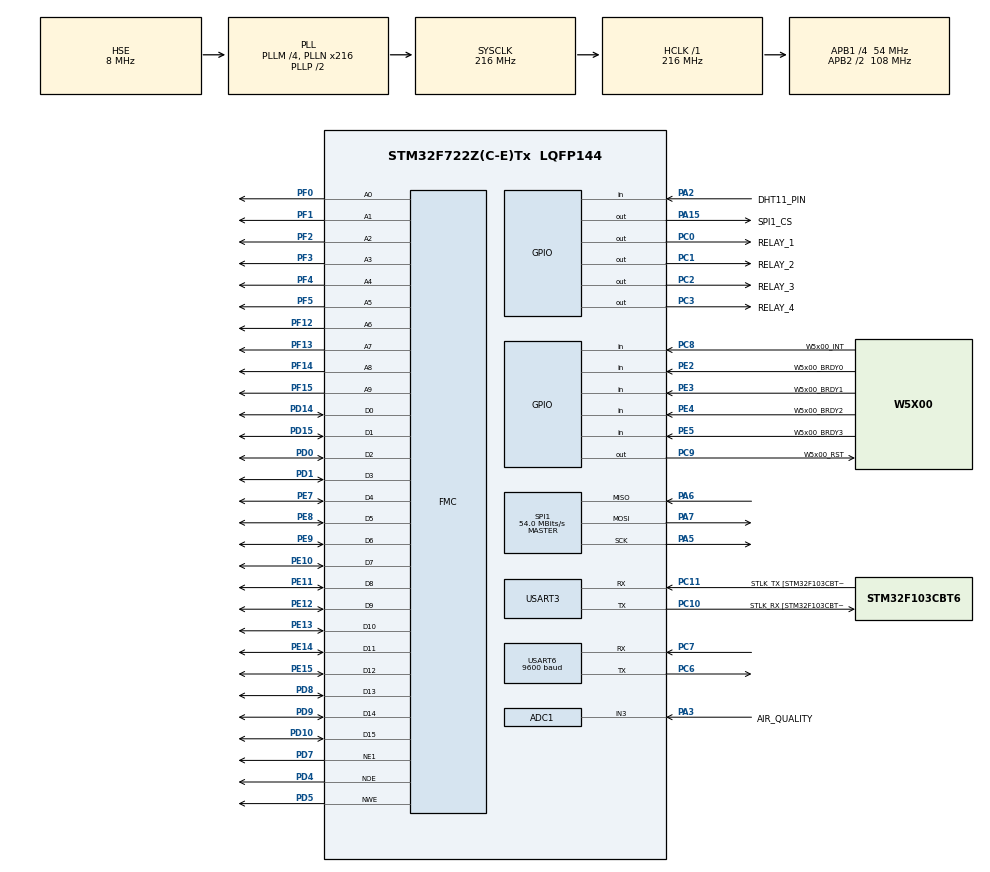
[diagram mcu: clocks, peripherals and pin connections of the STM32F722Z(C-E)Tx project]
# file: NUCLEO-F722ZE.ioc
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ADC1.Channel-2\#ChannelRegularConversion=ADC_CHANNEL_3
ADC1.DMAContinuousRequests=ENABLE
ADC1.NbrOfConversionFlag=1
ADC1.Rank-2\#ChannelRegularConversion=1
ADC1.SamplingTime-2\#ChannelRegularConversion=ADC_SAMPLETIME_3CYCLES
ADC1.master=1
Dma.ADC1.0.Direction=DMA_PERIPH_TO_MEMORY
Dma.ADC1.0.FIFOMode=DMA_FIFOMODE_DISABLE
Dma.ADC1.0.Instance=DMA2_Stream0
Dma.ADC1.0.MemDataAlignment=DMA_MDATAALIGN_HALFWORD
Dma.ADC1.0.MemInc=DMA_MINC_ENABLE
Dma.ADC1.0.Mode=DMA_CIRCULAR
Dma.ADC1.0.PeriphDataAlignment=DMA_PDATAALIGN_HALFWORD
Dma.ADC1.0.PeriphInc=DMA_PINC_DISABLE
Dma.ADC1.0.Priority=DMA_PRIORITY_LOW
Dma.Request0=ADC1
FATFS._MAX_SS=4096
FATFS._USE_LFN=1
FMC.WriteOperation1=FMC_WRITE_OPERATION_ENABLE
Mcu.Family=STM32F7
Mcu.Name=STM32F722Z(C-E)Tx
Mcu.Package=LQFP144
NVIC.DMA2_Stream0_IRQn=true\:0\:0\:false\:false\:true\:false\:true\:true
NVIC.PriorityGroup=NVIC_PRIORITYGROUP_4
PA13.GPIO_Label=TMS
PA13.Mode=Serial_Wire
PA13.Signal=SYS_JTMS-SWDIO
PA14.GPIO_Label=TCK
PA14.Mode=Serial_Wire
PA14.Signal=SYS_JTCK-SWCLK
PA15.GPIO_Label=SPI1_CS
PA15.GPIO_Speed=GPIO_SPEED_FREQ_MEDIUM
PA15.Signal=GPIO_Output
PA2.GPIO_Label=DHT11_PIN
PA2.Signal=GPIO_Input
PA3.GPIO_Label=AIR_QUALITY
PA3.Signal=ADCx_IN3
PA5.Mode=Full_Duplex_Master
PA5.Signal=SPI1_SCK
PA6.Mode=Full_Duplex_Master
PA6.Signal=SPI1_MISO
PA7.Mode=Full_Duplex_Master
PA7.Signal=SPI1_MOSI
PC0.GPIO_Label=RELAY_1
PC0.Signal=GPIO_Output
PC1.GPIO_Label=RELAY_2
PC1.Signal=GPIO_Output
PC10.GPIO_Label=STLK_RX [STM32F103CBT6_PA3]
PC10.Mode=Asynchronous
PC10.Signal=USART3_TX
PC11.GPIO_Label=STLK_TX [STM32F103CBT6_PA2]
PC11.Mode=Asynchronous
PC11.Signal=USART3_RX
PC14-OSC32_IN.Mode=LSE-External-Oscillator
PC14-OSC32_IN.Signal=RCC_OSC32_IN
PC15-OSC32_OUT.Mode=LSE-External-Oscillator
PC15-OSC32_OUT.Signal=RCC_OSC32_OUT
PC2.GPIO_Label=RELAY_3
PC2.Signal=GPIO_Output
PC3.GPIO_Label=RELAY_4
PC3.Signal=GPIO_Output
PC6.Mode=Asynchronous
PC6.Signal=USART6_TX
PC7.Mode=Asynchronous
PC7.Signal=USART6_RX
PC8.GPIO_Label=W5x00_INT
PC8.Signal=GPIO_Input
PC9.GPIO_Label=W5x00_RST
PC9.GPIO_PuPd=GPIO_PULLUP
PC9.PinState=GPIO_PIN_SET
PC9.Signal=GPIO_Output
PD0.Signal=FMC_D2_DA2
PD1.Signal=FMC_D3_DA3
PD10.Signal=FMC_D15_DA15
PD14.Signal=FMC_D0_DA0
PD15.Signal=FMC_D1_DA1
PD4.Signal=FMC_NOE
PD5.Signal=FMC_NWE
PD7.Mode=NorPsramChipSelect1_1
PD7.Signal=FMC_NE1
PD8.Signal=FMC_D13_DA13
PD9.Signal=FMC_D14_DA14
PE10.Signal=FMC_D7_DA7
PE11.Signal=FMC_D8_DA8
PE12.Signal=FMC_D9_DA9
PE13.Signal=FMC_D10_DA10
PE14.Signal=FMC_D11_DA11
PE15.Signal=FMC_D12_DA12
PE2.GPIO_Label=W5x00_BRDY0
PE2.Signal=GPIO_Input
PE3.GPIO_Label=W5x00_BRDY1
PE3.Signal=GPIO_Input
PE4.GPIO_Label=W5x00_BRDY2
PE4.Signal=GPIO_Input
PE5.GPIO_Label=W5x00_BRDY3
PE5.Signal=GPIO_Input
PE7.Signal=FMC_D4_DA4
PE8.Signal=FMC_D5_DA5
PE9.Signal=FMC_D6_DA6
PF0.Signal=FMC_A0
PF1.Signal=FMC_A1
PF12.Signal=FMC_A6
PF13.Signal=FMC_A7
PF14.Signal=FMC_A8
PF15.Signal=FMC_A9
PF2.Signal=FMC_A2
PF3.Signal=FMC_A3
PF4.Signal=FMC_A4
PF5.Signal=FMC_A5
PH0-OSC_IN.GPIO_Label=MCO
PH0-OSC_IN.Mode=HSE-External-Clock-Source
PH0-OSC_IN.Signal=RCC_OSC_IN
PH1-OSC_OUT.Mode=HSE-External-Clock-Source
PH1-OSC_OUT.Signal=RCC_OSC_OUT
ProjectManager.HeapSize=0x10000
ProjectManager.StackSize=0x8000
ProjectManager.TargetToolchain=STM32CubeIDE
RCC.48MHZClocksFreq_Value=24000000
RCC.AHBFreq_Value=216000000
RCC.APB1CLKDivider=RCC_HCLK_DIV4
RCC.APB1Freq_Value=54000000
RCC.APB1TimFreq_Value=108000000
RCC.APB2CLKDivider=RCC_HCLK_DIV2
RCC.APB2Freq_Value=108000000
RCC.APB2TimFreq_Value=216000000
RCC.CortexFreq_Value=216000000
RCC.HCLKFreq_Value=216000000
RCC.HSE_VALUE=8000000
RCC.HSI_VALUE=16000000
RCC.PLLM=4
RCC.PLLMUL=RCC_PLL_MUL9
RCC.PLLN=216
RCC.PLLQ=9
RCC.PLLSourceVirtual=RCC_PLLSOURCE_HSE
RCC.PRESCALERUSB=RCC_USBCLKSOURCE_PLL_DIV1_5
RCC.SYSCLKFreq_VALUE=216000000
RCC.SYSCLKSource=RCC_SYSCLKSOURCE_PLLCLK
RCC.SYSCLKSourceVirtual=RCC_SYSCLKSOURCE_PLLCLK
RCC.USBFreq_Value=48000000
RCC.VCOOutputFreq_Value=432000000
SH.ADCx_IN3.0=ADC1_IN3,IN3
SH.FMC_A0.0=FMC_A0,10b-a1
SH.FMC_A1.0=FMC_A1,10b-a1
SH.FMC_A2.0=FMC_A2,10b-a1
SH.FMC_A3.0=FMC_A3,10b-a1
SH.FMC_A4.0=FMC_A4,10b-a1
SH.FMC_A5.0=FMC_A5,10b-a1
SH.FMC_A6.0=FMC_A6,10b-a1
SH.FMC_A7.0=FMC_A7,10b-a1
SH.FMC_A8.0=FMC_A8,10b-a1
SH.FMC_A9.0=FMC_A9,10b-a1
SH.FMC_D0_DA0.0=FMC_D0,16b-d1
SH.FMC_D10_DA10.0=FMC_D10,16b-d1
SH.FMC_D11_DA11.0=FMC_D11,16b-d1
SH.FMC_D12_DA12.0=FMC_D12,16b-d1
SH.FMC_D13_DA13.0=FMC_D13,16b-d1
SH.FMC_D14_DA14.0=FMC_D14,16b-d1
SH.FMC_D15_DA15.0=FMC_D15,16b-d1
SH.FMC_D1_DA1.0=FMC_D1,16b-d1
SH.FMC_D2_DA2.0=FMC_D2,16b-d1
SH.FMC_D3_DA3.0=FMC_D3,16b-d1
SH.FMC_D4_DA4.0=FMC_D4,16b-d1
SH.FMC_D5_DA5.0=FMC_D5,16b-d1
SH.FMC_D6_DA6.0=FMC_D6,16b-d1
SH.FMC_D7_DA7.0=FMC_D7,16b-d1
SH.FMC_D8_DA8.0=FMC_D8,16b-d1
SH.FMC_D9_DA9.0=FMC_D9,16b-d1
SH.FMC_NOE.0=FMC_NOE,Sram1
SH.FMC_NWE.0=FMC_NWE,Sram1
SPI1.CalculateBaudRate=54.0 MBits/s
SPI1.Direction=SPI_DIRECTION_2LINES
SPI1.Mode=SPI_MODE_MASTER
SPI1.VirtualType=VM_MASTER
STMicroelectronics.X-CUBE-TOUCHGFX.4.22.0_IsPackSelfContextualization=true
TIM6.Prescaler=108
USART3.VirtualMode-Asynchronous=VM_ASYNC
USART6.BaudRate=9600
USART6.VirtualMode-Asynchronous=VM_ASYNC
VP_FATFS_VS_Generic.Mode=User_defined
VP_TIM6_VS_ClockSourceINT.Mode=Enable_Timer
board=NUCLEO-F722ZE

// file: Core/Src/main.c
/* USER CODE BEGIN Header */
/**
  ******************************************************************************
  * @file           : main.c
  * @brief          : Main program body
  ******************************************************************************
  * @attention
  *
  * Copyright (c) 2023 STMicroelectronics.
  * All rights reserved.
  *
  * This software is licensed under terms that can be found in the LICENSE file
  * in the root directory of this software component.
  * If no LICENSE file comes with this software, it is provided AS-IS.
  *
  ******************************************************************************
  */
/* USER CODE END Header */
#include "main.h"
#include "fatfs.h"

/* USER CODE BEGIN Includes */
#include <stdio.h>
#include <math.h>

#include "wizchip_conf.h"
#include "w5x00_mqtt_info.h"
#include "dht11.h"
#include "pzem004t.h"

#include "w5x00_network.h"
#include "httpServer.h"
#include "web_page.h"

//GitHub link: https://github.com/eziya
#include "fatfs_sd.h"

/* USER CODE END Includes */

/* USER CODE BEGIN PM */
#ifdef __GNUC__
/* With GCC/RAISONANCE, small printf (option LD Linker->Libraries->Small printf set to 'Yes') calls __io_putchar() */
#define PUTCHAR_PROTOTYPE int __io_putchar(int ch)
#else
#define PUTCHAR_PROTOTYPE int fputc(int ch, FILE *f)
#endif /* __GNUC__ */
/* USER CODE END PM */

ADC_HandleTypeDef hadc1;
DMA_HandleTypeDef hdma_adc1;

SPI_HandleTypeDef hspi1;

TIM_HandleTypeDef htim6;

UART_HandleTypeDef huart3;
UART_HandleTypeDef huart6;

SRAM_HandleTypeDef hsram1;

/* USER CODE BEGIN PV */
uint32_t VOC_VALUE = 0;
uint8_t adc_conv_complete_flag = 0;

/* USER CODE END PV */

void SystemClock_Config(void);
static void MX_GPIO_Init(void);
static void MX_DMA_Init(void);
static void MX_FMC_Init(void);
static void MX_TIM6_Init(void);
static void MX_USART6_UART_Init(void);
static void MX_ADC1_Init(void);
static void MX_USART3_UART_Init(void);
static void MX_SPI1_Init(void);
/* USER CODE BEGIN PFP */
void send_to_cloud(float temperature, float humidity, float voltage, float current, float power,
		           float energy, float frequency, float pf, float voc);
void http_server_demo(wiz_NetInfo *net_info);
void write_image_sd(void);
void test_sd_card(void);
//void read_pzem004t(void);
/**
 * @brief  Retargets the C library printf function to the USART.
 * @param  None
 * @retval None
 */
PUTCHAR_PROTOTYPE
{
  /* Place your implementation of fputc here */
  /* e.g. write a character to the USART3 and Loop until the end of transmission */
  HAL_UART_Transmit(&huart3, (uint8_t *)&ch, 1, 0xFF);

  return ch;
}

void HAL_ADC_ConvCpltCallback(ADC_HandleTypeDef* hadc)
{
  // Conversion Complete & DMA Transfer Complete As Well
  adc_conv_complete_flag = 1;
}

/* USER CODE END PFP */

/* USER CODE BEGIN 0 */
wiz_NetInfo net_info =
  {
	  .mac = {0x00, 0x08, 0xDC, 0x12, 0x34, 0x56}, // MAC address
	  .ip = {192, 168, 0, 2},                      // IP address
	  .sn = {255, 255, 255, 0},                    // Subnet Mask
	  .gw = {192, 168, 0, 1},                      // Gateway
	  .dns = {8, 8, 8, 8},                         // DNS server
	  .dhcp = NETINFO_DHCP                         // Dynamic IP, for static ip use NETINFO_STATIC

  };

/* USER CODE END 0 */

int main(void)
{

  /* MCU Configuration--------------------------------------------------------*/

  /* Reset of all peripherals, Initializes the Flash interface and the Systick. */
  HAL_Init();

  /* Configure the system clock */
  SystemClock_Config();

  /* Initialize all configured peripherals */
  MX_GPIO_Init();
  MX_DMA_Init();
  MX_FMC_Init();
  MX_TIM6_Init();
  MX_USART6_UART_Init();
  MX_ADC1_Init();
  MX_USART3_UART_Init();
  MX_SPI1_Init();
  MX_FATFS_Init();
  /* USER CODE BEGIN 2 */
  // ----------------------------------------------------------------------------------------------------
  // Call main function - example funcion
  // Select one application
  // ----------------------------------------------------------------------------------------------------
  // -----------------------------------------------------------------------------------------------------
  /* USER CODE END 2 */

  /* Infinite loop */
  /* USER CODE BEGIN WHILE */

  pzem_values pzem_sensor1; //Connected to Arduino D8 and D9 pins of TOE Shield

  dht11_t dht; //Connected to Arduino D3 pin of TOE Shield
  init_dht11(&dht, &htim6, DHT11_PIN_GPIO_Port, DHT11_PIN_Pin);

  int mqtt_connect_flag = 0;
  int count = 0;
  //takes three attempts to connect the MQTT broker
  while(count<3){
	  int val = mqtt_connect(&net_info);
	  if(val==1) {
		  mqtt_connect_flag = 1;
		  mqtt_subscribe(&net_info);
		  break;
	  }
	  count++;
  }

  while (1)
  {
	  read_pzem004t(&pzem_sensor1, &huart6);
	  float volt = pzem_sensor1.voltage;
	  float cur = pzem_sensor1.current;
	  float pow = pzem_sensor1.power;
	  float enrg = pzem_sensor1.energy;
	  float freq = pzem_sensor1.frequency;
	  float pfactor = pzem_sensor1.pf;

      float temp = 0;
      float humid = 0;
	  int result = readDHT11(&dht);
      if(result == 1){
    	  temp = dht.temperature;
    	  humid = dht.humidity;
      }

      HAL_ADC_Start_DMA(&hadc1, &VOC_VALUE, 1);
      float voc_value = 0;
      if(adc_conv_complete_flag == 1){
    	  voc_value = VOC_VALUE;
    	  adc_conv_complete_flag = 0;
      }

      //Check if mqtt is connected or not. If not connected then connect
      if(!mqtt_connect_flag){
		  int result = mqtt_connect(&net_info);
		  if(result==1) mqtt_connect_flag = 1;
		  else continue;
	  }

      //If connected then sends the data to MQTT broker
	  send_to_cloud(temp, humid, volt, cur, pow, enrg, freq, pfactor, voc_value);

	  //publish data to every 5 seconds, adjust as per your requirement
	  HAL_Delay(5000);

    /* USER CODE END WHILE */

  }
}

void SystemClock_Config(void)
{
  RCC_OscInitTypeDef RCC_OscInitStruct = {0};
  RCC_ClkInitTypeDef RCC_ClkInitStruct = {0};

  /** Configure LSE Drive Capability
  */
  HAL_PWR_EnableBkUpAccess();

  /** Configure the main internal regulator output voltage
  */
  __HAL_RCC_PWR_CLK_ENABLE();
  __HAL_PWR_VOLTAGESCALING_CONFIG(PWR_REGULATOR_VOLTAGE_SCALE1);

  /** Initializes the RCC Oscillators according to the specified parameters
  * in the RCC_OscInitTypeDef structure.
  */
  RCC_OscInitStruct.OscillatorType = RCC_OSCILLATORTYPE_HSE;
  RCC_OscInitStruct.HSEState = RCC_HSE_BYPASS;
  RCC_OscInitStruct.PLL.PLLState = RCC_PLL_ON;
  RCC_OscInitStruct.PLL.PLLSource = RCC_PLLSOURCE_HSE;
  RCC_OscInitStruct.PLL.PLLM = 4;
  RCC_OscInitStruct.PLL.PLLN = 216;
  RCC_OscInitStruct.PLL.PLLP = RCC_PLLP_DIV2;
  RCC_OscInitStruct.PLL.PLLQ = 9;
  if (HAL_RCC_OscConfig(&RCC_OscInitStruct) != HAL_OK)
  {
    Error_Handler();
  }

  /** Activate the Over-Drive mode
  */
  if (HAL_PWREx_EnableOverDrive() != HAL_OK)
  {
    Error_Handler();
  }

  /** Initializes the CPU, AHB and APB buses clocks
  */
  RCC_ClkInitStruct.ClockType = RCC_CLOCKTYPE_HCLK|RCC_CLOCKTYPE_SYSCLK
                              |RCC_CLOCKTYPE_PCLK1|RCC_CLOCKTYPE_PCLK2;
  RCC_ClkInitStruct.SYSCLKSource = RCC_SYSCLKSOURCE_PLLCLK;
  RCC_ClkInitStruct.AHBCLKDivider = RCC_SYSCLK_DIV1;
  RCC_ClkInitStruct.APB1CLKDivider = RCC_HCLK_DIV4;
  RCC_ClkInitStruct.APB2CLKDivider = RCC_HCLK_DIV2;

  if (HAL_RCC_ClockConfig(&RCC_ClkInitStruct, FLASH_LATENCY_7) != HAL_OK)
  {
    Error_Handler();
  }
}

static void MX_ADC1_Init(void)
{

  ADC_ChannelConfTypeDef sConfig = {0};

  /** Configure the global features of the ADC (Clock, Resolution, Data Alignment and number of conversion)
  */
  hadc1.Instance = ADC1;
  hadc1.Init.ClockPrescaler = ADC_CLOCK_SYNC_PCLK_DIV4;
  hadc1.Init.Resolution = ADC_RESOLUTION_12B;
  hadc1.Init.ScanConvMode = ADC_SCAN_DISABLE;
  hadc1.Init.ContinuousConvMode = DISABLE;
  hadc1.Init.DiscontinuousConvMode = DISABLE;
  hadc1.Init.ExternalTrigConvEdge = ADC_EXTERNALTRIGCONVEDGE_NONE;
  hadc1.Init.ExternalTrigConv = ADC_SOFTWARE_START;
  hadc1.Init.DataAlign = ADC_DATAALIGN_RIGHT;
  hadc1.Init.NbrOfConversion = 1;
  hadc1.Init.DMAContinuousRequests = ENABLE;
  hadc1.Init.EOCSelection = ADC_EOC_SINGLE_CONV;
  if (HAL_ADC_Init(&hadc1) != HAL_OK)
  {
    Error_Handler();
  }

  /** Configure for the selected ADC regular channel its corresponding rank in the sequencer and its sample time.
  */
  sConfig.Channel = ADC_CHANNEL_3;
  sConfig.Rank = ADC_REGULAR_RANK_1;
  sConfig.SamplingTime = ADC_SAMPLETIME_3CYCLES;
  if (HAL_ADC_ConfigChannel(&hadc1, &sConfig) != HAL_OK)
  {
    Error_Handler();
  }

}

static void MX_SPI1_Init(void)
{

  /* SPI1 parameter configuration*/
  hspi1.Instance = SPI1;
  hspi1.Init.Mode = SPI_MODE_MASTER;
  hspi1.Init.Direction = SPI_DIRECTION_2LINES;
  hspi1.Init.DataSize = SPI_DATASIZE_4BIT;
  hspi1.Init.CLKPolarity = SPI_POLARITY_LOW;
  hspi1.Init.CLKPhase = SPI_PHASE_1EDGE;
  hspi1.Init.NSS = SPI_NSS_SOFT;
  hspi1.Init.BaudRatePrescaler = SPI_BAUDRATEPRESCALER_2;
  hspi1.Init.FirstBit = SPI_FIRSTBIT_MSB;
  hspi1.Init.TIMode = SPI_TIMODE_DISABLE;
  hspi1.Init.CRCCalculation = SPI_CRCCALCULATION_DISABLE;
  hspi1.Init.CRCPolynomial = 7;
  hspi1.Init.CRCLength = SPI_CRC_LENGTH_DATASIZE;
  hspi1.Init.NSSPMode = SPI_NSS_PULSE_ENABLE;
  if (HAL_SPI_Init(&hspi1) != HAL_OK)
  {
    Error_Handler();
  }

}

static void MX_TIM6_Init(void)
{

  TIM_MasterConfigTypeDef sMasterConfig = {0};

  htim6.Instance = TIM6;
  htim6.Init.Prescaler = 108;
  htim6.Init.CounterMode = TIM_COUNTERMODE_UP;
  htim6.Init.Period = 65535;
  htim6.Init.AutoReloadPreload = TIM_AUTORELOAD_PRELOAD_DISABLE;
  if (HAL_TIM_Base_Init(&htim6) != HAL_OK)
  {
    Error_Handler();
  }
  sMasterConfig.MasterOutputTrigger = TIM_TRGO_RESET;
  sMasterConfig.MasterSlaveMode = TIM_MASTERSLAVEMODE_DISABLE;
  if (HAL_TIMEx_MasterConfigSynchronization(&htim6, &sMasterConfig) != HAL_OK)
  {
    Error_Handler();
  }

}

static void MX_USART3_UART_Init(void)
{

  huart3.Instance = USART3;
  huart3.Init.BaudRate = 115200;
  huart3.Init.WordLength = UART_WORDLENGTH_8B;
  huart3.Init.StopBits = UART_STOPBITS_1;
  huart3.Init.Parity = UART_PARITY_NONE;
  huart3.Init.Mode = UART_MODE_TX_RX;
  huart3.Init.HwFlowCtl = UART_HWCONTROL_NONE;
  huart3.Init.OverSampling = UART_OVERSAMPLING_16;
  huart3.Init.OneBitSampling = UART_ONE_BIT_SAMPLE_DISABLE;
  huart3.AdvancedInit.AdvFeatureInit = UART_ADVFEATURE_NO_INIT;
  if (HAL_UART_Init(&huart3) != HAL_OK)
  {
    Error_Handler();
  }

}

static void MX_USART6_UART_Init(void)
{

  huart6.Instance = USART6;
  huart6.Init.BaudRate = 9600;
  huart6.Init.WordLength = UART_WORDLENGTH_8B;
  huart6.Init.StopBits = UART_STOPBITS_1;
  huart6.Init.Parity = UART_PARITY_NONE;
  huart6.Init.Mode = UART_MODE_TX_RX;
  huart6.Init.HwFlowCtl = UART_HWCONTROL_NONE;
  huart6.Init.OverSampling = UART_OVERSAMPLING_16;
  huart6.Init.OneBitSampling = UART_ONE_BIT_SAMPLE_DISABLE;
  huart6.AdvancedInit.AdvFeatureInit = UART_ADVFEATURE_NO_INIT;
  if (HAL_UART_Init(&huart6) != HAL_OK)
  {
    Error_Handler();
  }

}

static void MX_DMA_Init(void)
{

  /* DMA controller clock enable */
  __HAL_RCC_DMA2_CLK_ENABLE();

  /* DMA interrupt init */
  /* DMA2_Stream0_IRQn interrupt configuration */
  HAL_NVIC_SetPriority(DMA2_Stream0_IRQn, 0, 0);
  HAL_NVIC_EnableIRQ(DMA2_Stream0_IRQn);

}

/* FMC initialization function */
static void MX_FMC_Init(void)
{

  FMC_NORSRAM_TimingTypeDef Timing = {0};

  /** Perform the SRAM1 memory initialization sequence
  */
  hsram1.Instance = FMC_NORSRAM_DEVICE;
  hsram1.Extended = FMC_NORSRAM_EXTENDED_DEVICE;
  /* hsram1.Init */
  hsram1.Init.NSBank = FMC_NORSRAM_BANK1;
  hsram1.Init.DataAddressMux = FMC_DATA_ADDRESS_MUX_DISABLE;
  hsram1.Init.MemoryType = FMC_MEMORY_TYPE_SRAM;
  hsram1.Init.MemoryDataWidth = FMC_NORSRAM_MEM_BUS_WIDTH_16;
  hsram1.Init.BurstAccessMode = FMC_BURST_ACCESS_MODE_DISABLE;
  hsram1.Init.WaitSignalPolarity = FMC_WAIT_SIGNAL_POLARITY_LOW;
  hsram1.Init.WaitSignalActive = FMC_WAIT_TIMING_BEFORE_WS;
  hsram1.Init.WriteOperation = FMC_WRITE_OPERATION_ENABLE;
  hsram1.Init.WaitSignal = FMC_WAIT_SIGNAL_DISABLE;
  hsram1.Init.ExtendedMode = FMC_EXTENDED_MODE_DISABLE;
  hsram1.Init.AsynchronousWait = FMC_ASYNCHRONOUS_WAIT_DISABLE;
  hsram1.Init.WriteBurst = FMC_WRITE_BURST_DISABLE;
  hsram1.Init.ContinuousClock = FMC_CONTINUOUS_CLOCK_SYNC_ONLY;
  hsram1.Init.WriteFifo = FMC_WRITE_FIFO_ENABLE;
  hsram1.Init.PageSize = FMC_PAGE_SIZE_NONE;
  /* Timing */
  Timing.AddressSetupTime = 15;
  Timing.AddressHoldTime = 15;
  Timing.DataSetupTime = 255;
  Timing.BusTurnAroundDuration = 15;
  Timing.CLKDivision = 16;
  Timing.DataLatency = 17;
  Timing.AccessMode = FMC_ACCESS_MODE_A;
  /* ExtTiming */

  if (HAL_SRAM_Init(&hsram1, &Timing, NULL) != HAL_OK)
  {
    Error_Handler( );
  }

}

static void MX_GPIO_Init(void)
{
  GPIO_InitTypeDef GPIO_InitStruct = {0};

  /* GPIO Ports Clock Enable */
  __HAL_RCC_GPIOE_CLK_ENABLE();
  __HAL_RCC_GPIOC_CLK_ENABLE();
  __HAL_RCC_GPIOF_CLK_ENABLE();
  __HAL_RCC_GPIOH_CLK_ENABLE();
  __HAL_RCC_GPIOA_CLK_ENABLE();
  __HAL_RCC_GPIOD_CLK_ENABLE();

  /*Configure GPIO pin Output Level */
  HAL_GPIO_WritePin(GPIOC, RELAY_1_Pin|RELAY_2_Pin|RELAY_3_Pin|RELAY_4_Pin, GPIO_PIN_RESET);

  /*Configure GPIO pin Output Level */
  HAL_GPIO_WritePin(W5x00_RST_GPIO_Port, W5x00_RST_Pin, GPIO_PIN_SET);

  /*Configure GPIO pin Output Level */
  HAL_GPIO_WritePin(SPI1_CS_GPIO_Port, SPI1_CS_Pin, GPIO_PIN_RESET);

  /*Configure GPIO pins : W5x00_BRDY0_Pin W5x00_BRDY1_Pin W5x00_BRDY2_Pin W5x00_BRDY3_Pin */
  GPIO_InitStruct.Pin = W5x00_BRDY0_Pin|W5x00_BRDY1_Pin|W5x00_BRDY2_Pin|W5x00_BRDY3_Pin;
  GPIO_InitStruct.Mode = GPIO_MODE_INPUT;
  GPIO_InitStruct.Pull = GPIO_NOPULL;
  HAL_GPIO_Init(GPIOE, &GPIO_InitStruct);

  /*Configure GPIO pins : RELAY_1_Pin RELAY_2_Pin RELAY_3_Pin RELAY_4_Pin */
  GPIO_InitStruct.Pin = RELAY_1_Pin|RELAY_2_Pin|RELAY_3_Pin|RELAY_4_Pin;
  GPIO_InitStruct.Mode = GPIO_MODE_OUTPUT_PP;
  GPIO_InitStruct.Pull = GPIO_NOPULL;
  GPIO_InitStruct.Speed = GPIO_SPEED_FREQ_LOW;
  HAL_GPIO_Init(GPIOC, &GPIO_InitStruct);

  /*Configure GPIO pin : DHT11_PIN_Pin */
  GPIO_InitStruct.Pin = DHT11_PIN_Pin;
  GPIO_InitStruct.Mode = GPIO_MODE_INPUT;
  GPIO_InitStruct.Pull = GPIO_NOPULL;
  HAL_GPIO_Init(DHT11_PIN_GPIO_Port, &GPIO_InitStruct);

  /*Configure GPIO pin : W5x00_INT_Pin */
  GPIO_InitStruct.Pin = W5x00_INT_Pin;
  GPIO_InitStruct.Mode = GPIO_MODE_INPUT;
  GPIO_InitStruct.Pull = GPIO_NOPULL;
  HAL_GPIO_Init(W5x00_INT_GPIO_Port, &GPIO_InitStruct);

  /*Configure GPIO pin : W5x00_RST_Pin */
  GPIO_InitStruct.Pin = W5x00_RST_Pin;
  GPIO_InitStruct.Mode = GPIO_MODE_OUTPUT_PP;
  GPIO_InitStruct.Pull = GPIO_PULLUP;
  GPIO_InitStruct.Speed = GPIO_SPEED_FREQ_LOW;
  HAL_GPIO_Init(W5x00_RST_GPIO_Port, &GPIO_InitStruct);

  /*Configure GPIO pin : SPI1_CS_Pin */
  GPIO_InitStruct.Pin = SPI1_CS_Pin;
  GPIO_InitStruct.Mode = GPIO_MODE_OUTPUT_PP;
  GPIO_InitStruct.Pull = GPIO_NOPULL;
  GPIO_InitStruct.Speed = GPIO_SPEED_FREQ_MEDIUM;
  HAL_GPIO_Init(SPI1_CS_GPIO_Port, &GPIO_InitStruct);

}

/* USER CODE BEGIN 4 */
//This function make two integers from the float value add form a data array to send the cloud
void send_to_cloud(float temperature, float humidity, float voltage, float current, float power, float energy, float frequency, float pf, float voc)
{
	int tempInt1 = temperature;
	float tempF = temperature - tempInt1;
	int tempInt2 = trunc(tempF * 100);

	int humidInt1 = humidity;
	float humidF = humidity - humidInt1;
	int humidInt2 = trunc(humidF * 100);

	int voltInt1 = voltage;
	float voltF = voltage - voltInt1;
	int voltInt2 = trunc(voltF * 100);

	int curInt1 = current;
	float curF = current - curInt1;
    int curInt2 = trunc(curF * 100);

    int powInt1 = power;
    float powF = power - powInt1;
    int powInt2 = trunc(powF * 100);

    int enrgInt1 = energy;
    float enrgF = energy - enrgInt1;
    int enrgInt2 = trunc(enrgF * 100);

    int freqInt1 = frequency;
    float freqF = frequency - freqInt1;
    int freqInt2 = trunc(freqF * 100);

    int pfInt1 = pf;
    float pfF = pf - pfInt1;
    int pfInt2 = trunc(pfF * 100);

    int vocInt1 = voc;
    float vocF = voc - vocInt1;
    int vocInt2 = trunc(vocF * 100);

    char data_array[200];
    snprintf(data_array, sizeof(data_array), "%d.%d,%d.%d,%d.%d,%d.%d,%d.%d,%d.%d,%d.%d,%d.%d,%d.%d",
    		tempInt1, tempInt2, humidInt1, humidInt2, voltInt1, voltInt2, curInt1, curInt2, powInt1, powInt2, enrgInt1, enrgInt2,
			freqInt1, freqInt2, pfInt1, pfInt2, vocInt1, vocInt2);
    printf("%s\n", data_array);
    mqtt_publish(data_array);

}

//This function form an http server to show the image.
void http_server_demo(wiz_NetInfo *net_info)
{
  uint8_t i = 0;

  wizchip_network_initialize(net_info);
  wizchip_network_information(net_info);

  httpServer_init(g_http_send_buf, g_http_recv_buf, HTTP_SOCKET_MAX_NUM, g_http_socket_num_list);

  reg_httpServer_webContent("index.html", index_page);

  /* Infinite loop */
  while (1)
  {
    for (i = 0; i < HTTP_SOCKET_MAX_NUM; i++)
    {
      /* Run HTTP server */
      httpServer_run(i);
    }
  }
}

//https://github.com/STMicroelectronics/STM32CubeF7/tree/master/Projects/STM32F769I_EVAL/Applications/Camera/Camera_To_USBDisk

void write_image_sd(void)
{
	FATFS fs;
	FRESULT res1, res2;
	FIL MyFile;
	uint32_t byteswritten;  /* File write count */
	uint8_t str[30];

	/* Image header */
	const uint32_t aBMPHeader[14]=
	{0xFA364D42, 0x00000005, 0x00360000, 0x00280000, 0x01E00000, 0x01100000, 0x00010000,
	 0x00000018, 0xF5400000, 0x00000006, 0x00000000, 0x00000000, 0x00000000, 0x0000};

	static uint32_t   CameraResX = 480;
	static uint32_t   CameraResY = 320;

    #define CONVERTED_FRAME_BUFFER        3 + (CameraResX * CameraResY * 3)

	sprintf((char *)str,"image.bmp");

	/* Mount SD Card */
    if(f_mount(&fs, "", 0) != FR_OK)
    {
		_Error_Handler(__FILE__, __LINE__);
    }
	/* Create and Open a new text file object with write access */
	if(f_open(&MyFile, (const char*)str, FA_CREATE_ALWAYS | FA_WRITE) != FR_OK)
	{
		_Error_Handler(__FILE__, __LINE__);
	}

	else
	{
		/* Write data to the BMP file */
		res1 = f_write(&MyFile, (uint32_t *)aBMPHeader, 54, (void *)&byteswritten);

		res2 = f_write(&MyFile, (uint8_t *)((uint8_t *)CONVERTED_FRAME_BUFFER),
	    		       (CameraResX * CameraResY * 3),
	    		       (void *)&byteswritten);

		if((res1 != FR_OK) || (res2 != FR_OK) || (byteswritten == 0))
	    {
			_Error_Handler(__FILE__, __LINE__);
	    }
	    else
	    {
	      /* Close the open BMP file */
	      f_close(&MyFile);

	    }
	}
    /* Unmount SDCARD */
	if(f_mount(NULL, "", 1) != FR_OK)
		_Error_Handler(__FILE__, __LINE__);
}

void test_sd_card(void)
{
	FATFS fs;
	FATFS *pfs;
	FIL fil;
	FRESULT fres;
	DWORD fre_clust;
	uint32_t totalSpace, freeSpace;
	char buffer[100];

	/* Mount SD Card */
	if(f_mount(&fs, "", 0) != FR_OK)
		_Error_Handler(__FILE__, __LINE__);

	/* Open file to write */
	if(f_open(&fil, "first.txt", FA_OPEN_ALWAYS | FA_READ | FA_WRITE) != FR_OK)
		_Error_Handler(__FILE__, __LINE__);

	/* Check freeSpace space */
	if(f_getfree("", &fre_clust, &pfs) != FR_OK)
		_Error_Handler(__FILE__, __LINE__);

	totalSpace = (uint32_t)((pfs->n_fatent - 2) * pfs->csize * 0.5);
	freeSpace = (uint32_t)(fre_clust * pfs->csize * 0.5);

	/* free space is less than 1kb */
	if(freeSpace < 1)
		_Error_Handler(__FILE__, __LINE__);

	/* Writing text */
	f_puts("STM32 SD Card I/O Example via SPI\n", &fil);
	f_puts("Save the world!!!", &fil);

	/* Close file */
	if(f_close(&fil) != FR_OK)
		_Error_Handler(__FILE__, __LINE__);

	/* Open file to read */
	if(f_open(&fil, "first.txt", FA_READ) != FR_OK)
		_Error_Handler(__FILE__, __LINE__);

	while(f_gets(buffer, sizeof(buffer), &fil))
	{
		/* SWV output */
		printf("%s", buffer);
		fflush(stdout);
	}

	/* Close file */
	if(f_close(&fil) != FR_OK)
		_Error_Handler(__FILE__, __LINE__);

	/* Unmount SDCARD */
	if(f_mount(NULL, "", 1) != FR_OK)
		_Error_Handler(__FILE__, __LINE__);
}

/* USER CODE END 4 */

void Error_Handler(void)
{
  __disable_irq();
  while (1)
  {
  }
}
